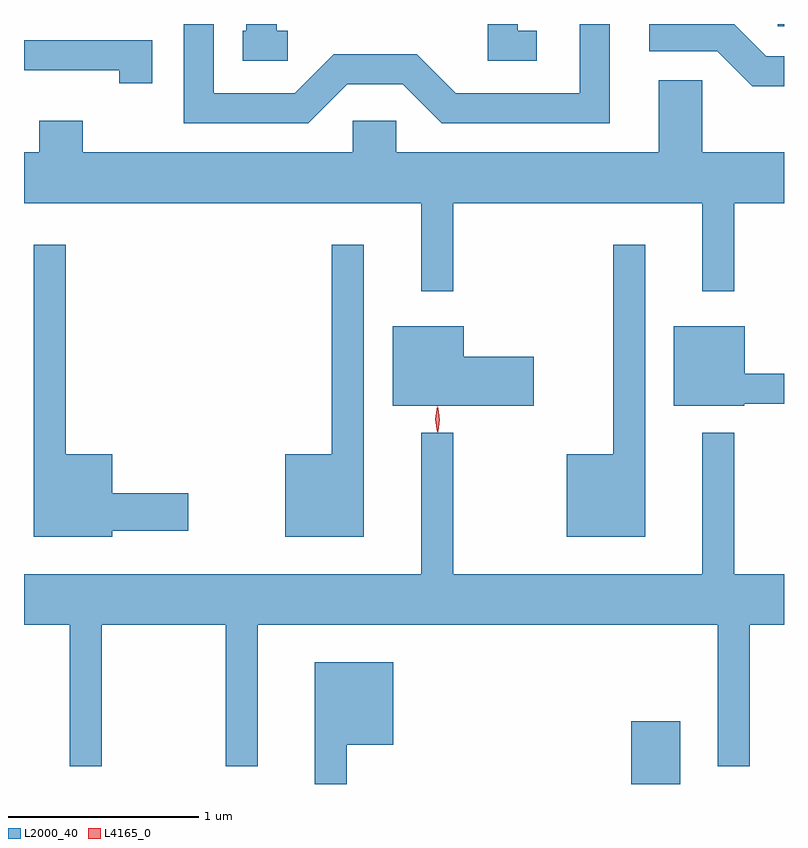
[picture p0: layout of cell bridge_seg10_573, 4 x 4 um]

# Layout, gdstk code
import gdstk
lib = gdstk.Library(unit=1e-6, precision=1e-09)
def R(c, l, rs):  # rectangles x0, y0, x1, y1
    for r in rs: c.add(gdstk.rectangle(r[:2], r[2:], *l))
def P(c, l, *ps):  # polygons
    for p in ps: c.add(gdstk.Polygon(p, *l))
L2000_40 = (2000, 40)
L4165_0 = (4165, 0)

bridge_seg10_573 = lib.new_cell('bridge_seg10_573')
R(bridge_seg10_573, L2000_40, [(762.126,2108.639,762.384,2108.969), (762.896,2112.626,762.93,2112.639)])
P(bridge_seg10_573, L2000_40, [(760.632,2112.321),(760.924,2112.321),(761.129,2112.116),(762.014,2112.116),(762.014,2112.639),(761.856,2112.639),(761.856,2112.274),(761.202,2112.274),(760.997,2112.479),(760.559,2112.479),(760.354,2112.274),(759.929,2112.274),(759.929,2112.639),(759.771,2112.639),(759.771,2112.116),(760.427,2112.116)],
  [(762.93,2112.469),(762.837,2112.469),(762.667,2112.639),(762.221,2112.639),(762.221,2112.496),(762.579,2112.496),(762.764,2112.311),(762.93,2112.311)],
  [(761.628,2112.604),(761.529,2112.604),(761.529,2112.639),(761.371,2112.639),(761.371,2112.446),(761.628,2112.446)],
  [(760.318,2112.604),(760.259,2112.604),(760.259,2112.639),(760.101,2112.639),(760.101,2112.604),(760.081,2112.604),(760.081,2112.446),(760.318,2112.446)],
  [(759.604,2112.554),(758.93,2112.554),(758.93,2112.396),(759.431,2112.396),(759.431,2112.326),(759.604,2112.326)],
  [(761.189,2111.696),(762.501,2111.696),(762.501,2111.233),(762.669,2111.233),(762.669,2111.696),(762.93,2111.696),(762.93,2111.964),(762.499,2111.964),(762.499,2112.344),(762.271,2112.344),(762.271,2111.964),(760.889,2111.964),(760.889,2112.129),(760.661,2112.129),(760.661,2111.964),(759.239,2111.964),(759.239,2112.129),(759.011,2112.129),(759.011,2111.964),(758.93,2111.964),(758.93,2111.696),(761.021,2111.696),(761.021,2111.233),(761.189,2111.233)],
  [(760.719,2111.478),(760.551,2111.478),(760.551,2110.374),(760.306,2110.374),(760.306,2109.941),(760.719,2109.941)],
  [(759.394,2109.971),(759.794,2109.971),(759.794,2110.169),(759.394,2110.169),(759.394,2110.374),(759.149,2110.374),(759.149,2111.478),(758.981,2111.478),(758.981,2109.941),(759.394,2109.941)],
  [(762.199,2111.478),(762.031,2111.478),(762.031,2110.374),(761.786,2110.374),(761.786,2109.941),(762.199,2109.941)],
  [(761.614,2110.889),(761.244,2110.889),(761.244,2111.049),(760.871,2111.049),(760.871,2110.631),(761.614,2110.631)],
  [(762.72,2110.641),(762.93,2110.641),(762.93,2110.799),(762.724,2110.799),(762.724,2111.049),(762.351,2111.049),(762.351,2110.631),(762.72,2110.631)],
  [(759.339,2109.476),(759.991,2109.476),(759.991,2108.733),(760.159,2108.733),(760.159,2109.476),(762.581,2109.476),(762.581,2108.733),(762.749,2108.733),(762.749,2109.476),(762.93,2109.476),(762.93,2109.744),(762.669,2109.744),(762.669,2110.488),(762.501,2110.488),(762.501,2109.744),(761.189,2109.744),(761.189,2110.488),(761.021,2110.488),(761.021,2109.744),(758.93,2109.744),(758.93,2109.476),(759.171,2109.476),(759.171,2108.733),(759.339,2108.733)],
  [(760.629,2108.846),(760.874,2108.846),(760.874,2109.279),(760.461,2109.279),(760.461,2108.639),(760.629,2108.639)])
P(bridge_seg10_573, L4165_0, [(761.104,2110.49),(761.094,2110.558),(761.104,2110.626),(761.104,2110.626),(761.104,2110.626),(761.114,2110.558),(761.105,2110.49),(761.105,2110.49)],
  [(761.108,2110.493),(761.108,2110.494),(761.098,2110.556),(761.108,2110.62),(761.108,2110.62),(761.109,2110.62),(761.118,2110.556),(761.109,2110.494)])

lib.write_gds('bridge_seg10_573.gds')
